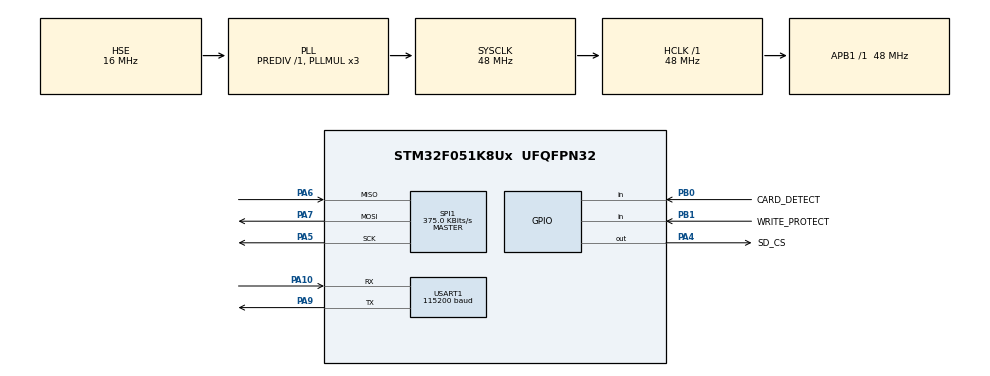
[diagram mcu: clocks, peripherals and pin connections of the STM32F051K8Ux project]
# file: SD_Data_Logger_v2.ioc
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Dma.Request0=USART1_RX
Dma.USART1_RX.0.Direction=DMA_PERIPH_TO_MEMORY
Dma.USART1_RX.0.Instance=DMA1_Channel3
Dma.USART1_RX.0.MemDataAlignment=DMA_MDATAALIGN_BYTE
Dma.USART1_RX.0.MemInc=DMA_MINC_ENABLE
Dma.USART1_RX.0.Mode=DMA_CIRCULAR
Dma.USART1_RX.0.PeriphDataAlignment=DMA_PDATAALIGN_BYTE
Dma.USART1_RX.0.PeriphInc=DMA_PINC_DISABLE
Dma.USART1_RX.0.Priority=DMA_PRIORITY_LOW
FATFS._USE_LFN=2
IWDG.Prescaler=IWDG_PRESCALER_64
Mcu.Family=STM32F0
Mcu.Name=STM32F051K8Ux
Mcu.Package=UFQFPN32
NVIC.DMA1_Channel2_3_IRQn=true\:0\:0\:false\:false\:true\:false\:true\:true
NVIC.SPI1_IRQn=true\:0\:0\:false\:false\:true\:true\:true\:true
NVIC.USART1_IRQn=true\:0\:0\:false\:false\:true\:true\:true\:true
PA10.Mode=Asynchronous
PA10.Signal=USART1_RX
PA13.Mode=Serial_Wire
PA13.Signal=SYS_SWDIO
PA14.Mode=Serial_Wire
PA14.Signal=SYS_SWCLK
PA4.GPIO_Label=SD_CS
PA4.GPIO_PuPd=GPIO_NOPULL
PA4.Signal=GPIO_Output
PA5.GPIO_PuPd=GPIO_PULLUP
PA5.Mode=Full_Duplex_Master
PA5.Signal=SPI1_SCK
PA6.GPIO_PuPd=GPIO_PULLUP
PA6.Mode=Full_Duplex_Master
PA6.Signal=SPI1_MISO
PA7.GPIO_PuPd=GPIO_PULLUP
PA7.Mode=Full_Duplex_Master
PA7.Signal=SPI1_MOSI
PA9.Mode=Asynchronous
PA9.Signal=USART1_TX
PB0.GPIO_Label=CARD_DETECT
PB0.GPIO_PuPd=GPIO_PULLUP
PB0.Signal=GPIO_Input
PB1.GPIO_Label=WRITE_PROTECT
PB1.GPIO_PuPd=GPIO_PULLUP
PB1.Signal=GPIO_Input
PF0-OSC_IN.Mode=HSE-External-Oscillator
PF0-OSC_IN.Signal=RCC_OSC_IN
PF1-OSC_OUT.Mode=HSE-External-Oscillator
PF1-OSC_OUT.Signal=RCC_OSC_OUT
ProjectManager.HeapSize=0x200
ProjectManager.StackSize=0x400
ProjectManager.TargetToolchain=STM32CubeIDE
RCC.AHBFreq_Value=48000000
RCC.APB1Freq_Value=48000000
RCC.APB1TimFreq_Value=48000000
RCC.HCLKFreq_Value=48000000
RCC.HSE_VALUE=16000000
RCC.PLLMUL=RCC_PLL_MUL3
RCC.PLLSourceVirtual=RCC_PLLSOURCE_HSE
RCC.SYSCLKFreq_VALUE=48000000
RCC.SYSCLKSource=RCC_SYSCLKSOURCE_PLLCLK
SPI1.BaudRatePrescaler=SPI_BAUDRATEPRESCALER_128
SPI1.CalculateBaudRate=375.0 KBits/s
SPI1.DataSize=SPI_DATASIZE_8BIT
SPI1.Direction=SPI_DIRECTION_2LINES
SPI1.Mode=SPI_MODE_MASTER
SPI1.VirtualType=VM_MASTER
USART1.BaudRate=115200
USART1.VirtualMode-Asynchronous=VM_ASYNC
VP_FATFS_VS_Generic.Mode=User_defined
VP_IWDG_VS_IWDG.Mode=IWDG_Activate
board=custom

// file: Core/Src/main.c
/* USER CODE BEGIN Header */
/**
  ******************************************************************************
  * @file           : main.c
  * @brief          : Main program body
  ******************************************************************************
  * @attention
  *
  * Copyright (c) 2023 STMicroelectronics.
  * All rights reserved.
  *
  * This software is licensed under terms that can be found in the LICENSE file
  * in the root directory of this software component.
  * If no LICENSE file comes with this software, it is provided AS-IS.
  *
  ******************************************************************************
  */
/* USER CODE END Header */
#include "main.h"
#include "fatfs.h"

/* USER CODE BEGIN Includes */
#include <stdio.h>
#include <string.h>
#include <stdarg.h>
#include <retarget.h>
/* USER CODE END Includes */

IWDG_HandleTypeDef hiwdg;

SPI_HandleTypeDef hspi1;

UART_HandleTypeDef huart1;
DMA_HandleTypeDef hdma_usart1_rx;

/* USER CODE BEGIN PV */

volatile int rx_half_cplt_flag = 0;
volatile int rx_cplt_flag = 0;

extern uint8_t uart_rx_buf[UART_RX_BUF_SIZE];

/* USER CODE END PV */

void SystemClock_Config(void);
static void MX_GPIO_Init(void);
static void MX_DMA_Init(void);
static void MX_SPI1_Init(void);
static void MX_USART1_UART_Init(void);
static void MX_IWDG_Init(void);

int main(void)
{

  /* MCU Configuration--------------------------------------------------------*/

  /* Reset of all peripherals, Initializes the Flash interface and the Systick. */
  HAL_Init();

  /* Configure the system clock */
  SystemClock_Config();

  /* Initialize all configured peripherals */
  MX_GPIO_Init();
  MX_DMA_Init();
  MX_SPI1_Init();
  MX_USART1_UART_Init();
  MX_FATFS_Init();
  /* USER CODE BEGIN 2 */

  RetargetInit(&huart1);

//  printf("\nSD Card Demo\n\n");

  HAL_Delay(1000);
  MX_IWDG_Init();

//  fres = f_mount(&FatFs, "", 1);
//  if (fres != FR_OK) {
//	  printf("f_mount error (%i)\r\n", fres);
//	  while(1);
//  } else {
//	  printf("Mounted successfully!\n\r");
//  }
//
//  DWORD free_clusters, free_sectors, total_sectors;

//  FATFS* getFreeFs;

//  fres = f_getfree("", &free_clusters, &getFreeFs);
//  if (fres != FR_OK) {
//	  printf("g_getfree error (%i)\n\r", fres);
//	  while(1);
//  } else {
//	  printf("Getfree success!\n\r");
//  }

  //Formula comes from ChaN's documentation
//  total_sectors = (getFreeFs->n_fatent - 2) * getFreeFs->csize;
//  free_sectors = free_clusters * getFreeFs->csize;

//  printf("SD card stats:\r\n%10lu KiB total drive space.\r\n%10lu KiB available.\r\n", total_sectors / 2, free_sectors / 2);

//  fres = f_open(&fil, "test.txt", FA_READ);
//  if (fres != FR_OK) {
//	  printf("f_open error (%i)\r\n", fres);
//	  while(1);
//  }
//  printf("I was able to open 'test.txt' for reading!\r\n");
//
//  //Read 30 bytes from "test.txt" on the SD card
//  BYTE readBuf[30];
//
//  //We can either use f_read OR f_gets to get data out of files
//  //f_gets is a wrapper on f_read that does some string formatting for us
//  TCHAR* rres = f_gets((TCHAR*)readBuf, 30, &fil);
//  if(rres != 0) {
//	  printf("Read string from 'test.txt' contents: %s\r\n", readBuf);
//  } else {
//	  printf("f_gets error (%i)\r\n", fres);
//  }
//
//  //Be a tidy kiwi - don't forget to close your file!
//  f_close(&fil);
//
//  //Now let's try and write a file "write.txt"
//  fres = f_open(&fil, "write.txt", FA_WRITE | FA_OPEN_ALWAYS | FA_CREATE_ALWAYS);
//  if(fres == FR_OK) {
//	  printf("I was able to open 'write.txt' for writing\r\n");
//  } else {
//	  printf("f_open error (%i)\r\n", fres);
//  }
//
//  //Copy in a string
//  for (int i = 0; i < 30; i++) {
//	  readBuf[i] = getchar();
//  }
////  strncpy((char*)readBuf, "a new file is made!", 19);
//  UINT bytesWrote;
//  fres = f_write(&fil, readBuf, 30, &bytesWrote);
//  if(fres == FR_OK) {
//	  printf("Wrote %i bytes to 'write.txt'!\r\n", bytesWrote);
//  } else {
//	  printf("f_write error (%i)\r\n", fres);
//  }
//
//  //Be a tidy kiwi - don't forget to close your file!
//  f_close(&fil);
//
//  //We're done, so de-mount the drive
//  f_mount(NULL, "", 0);

  /* USER CODE END 2 */

  /* Infinite loop */
  while (1)
  {

    /* USER CODE BEGIN 3 */
	  HAL_IWDG_Refresh(&hiwdg);
	  HAL_GPIO_WritePin(SD_CS_GPIO_Port, SD_CS_Pin, GPIO_PIN_SET);
	  if (HAL_GPIO_ReadPin(CARD_DETECT_GPIO_Port, CARD_DETECT_Pin) == GPIO_PIN_SET) {
		  printf("No card detected!\n");
		  HAL_Delay(1000);
		  continue;
	  }
	  HAL_IWDG_Refresh(&hiwdg);
	  HAL_Delay(1000);
	  printf("Mounting SD card...\n");
	  MX_FATFS_Init();
	  FRESULT fres = f_mount(&USERFatFS, "", 1);
	  if (fres != FR_OK) {
		  printf("f_mount error (%i)\n", fres);
		  f_mount(NULL, "", 0);
		  MX_FATFS_DeInit();
		  continue;
	  }
	  HAL_IWDG_Refresh(&hiwdg);
//	  printf("Mounted Successfully!\n");

	  static char date[64];
	  static char hours[10];
	  static char minutes[10];
	  static char seconds[10];
	  static char fname[128];

	  scanf("%*[^\n\r]%*[\n\r ]%63[^\n\r,], %9[^\n\r,.:]:%9[^\n\r,.:]:%9[^\n\r,.:]", date, hours, minutes, seconds);

	  sprintf(fname, "%s--%s;%s;%s.csv", date, hours, minutes, seconds);
//	  sprintf(fname, "foobar.csv");

	  HAL_IWDG_Refresh(&hiwdg);
	  printf("Opening %s\n", fname);

	  HAL_Delay(1000);

	  fres = f_open(&USERFile, fname, FA_CREATE_ALWAYS | FA_OPEN_ALWAYS | FA_WRITE);
	  if (fres != FR_OK) {
		  printf("f_open error (%i)\n", fres);
		  f_close(&USERFile);
		  f_mount(NULL, "", 0);
		  MX_FATFS_DeInit();
		  continue;
	  }
	  printf("Opened %s\n", fname);

	  while(fres == FR_OK) {
		  HAL_IWDG_Refresh(&hiwdg);
		  if (rx_cplt_flag && rx_half_cplt_flag) {
			  rx_cplt_flag = 0;
			  rx_half_cplt_flag = 0;
		  }
		  if (rx_half_cplt_flag) {
			  rx_half_cplt_flag = 0;
			  UINT bytesWrote;
			  fres = f_write(&USERFile, uart_rx_buf, (UART_RX_BUF_SIZE >> 1), &bytesWrote);
			  f_sync(&USERFile);

			  FATFS* getFreeFs;
			  DWORD free_clusters, free_sectors, total_sectors;
			  f_getfree("", &free_clusters, &getFreeFs);
			  total_sectors = (getFreeFs->n_fatent - 2) * getFreeFs->csize;
			  free_sectors = free_clusters * getFreeFs->csize;

			  printf("Wrote %i bytes 1/2 ", bytesWrote);
			  printf("%6lu MB / %6lu MB", (total_sectors - free_sectors) / 2048, total_sectors / 2048);
			  printf("%s\n", fname);

		  }
		  if (rx_cplt_flag) {
			  rx_cplt_flag = 0;
			  UINT bytesWrote;
			  fres = f_write(&USERFile, uart_rx_buf+(UART_RX_BUF_SIZE >> 1), (UART_RX_BUF_SIZE >> 1), &bytesWrote);
			  f_sync(&USERFile);

			  FATFS* getFreeFs;
			  DWORD free_clusters, free_sectors, total_sectors;
			  f_getfree("", &free_clusters, &getFreeFs);
			  total_sectors = (getFreeFs->n_fatent - 2) * getFreeFs->csize;
			  free_sectors = free_clusters * getFreeFs->csize;

			  printf("Wrote %i bytes 2/2 ", bytesWrote);
			  printf("%6lu MB / %6lu MB", (total_sectors - free_sectors) / 2048, total_sectors / 2048);
			  printf("%s\n", fname);
		  }
	  }

	  printf("f_write error (%i)\n", fres);
	  f_close(&USERFile);
	  f_mount(NULL, "", 0);
	  MX_FATFS_DeInit();
  }
  /* USER CODE END 3 */
}

void SystemClock_Config(void)
{
  RCC_OscInitTypeDef RCC_OscInitStruct = {0};
  RCC_ClkInitTypeDef RCC_ClkInitStruct = {0};
  RCC_PeriphCLKInitTypeDef PeriphClkInit = {0};

  /** Initializes the RCC Oscillators according to the specified parameters
  * in the RCC_OscInitTypeDef structure.
  */
  RCC_OscInitStruct.OscillatorType = RCC_OSCILLATORTYPE_LSI|RCC_OSCILLATORTYPE_HSE;
  RCC_OscInitStruct.HSEState = RCC_HSE_ON;
  RCC_OscInitStruct.LSIState = RCC_LSI_ON;
  RCC_OscInitStruct.PLL.PLLState = RCC_PLL_ON;
  RCC_OscInitStruct.PLL.PLLSource = RCC_PLLSOURCE_HSE;
  RCC_OscInitStruct.PLL.PLLMUL = RCC_PLL_MUL3;
  RCC_OscInitStruct.PLL.PREDIV = RCC_PREDIV_DIV1;
  if (HAL_RCC_OscConfig(&RCC_OscInitStruct) != HAL_OK)
  {
    Error_Handler();
  }

  /** Initializes the CPU, AHB and APB buses clocks
  */
  RCC_ClkInitStruct.ClockType = RCC_CLOCKTYPE_HCLK|RCC_CLOCKTYPE_SYSCLK
                              |RCC_CLOCKTYPE_PCLK1;
  RCC_ClkInitStruct.SYSCLKSource = RCC_SYSCLKSOURCE_PLLCLK;
  RCC_ClkInitStruct.AHBCLKDivider = RCC_SYSCLK_DIV1;
  RCC_ClkInitStruct.APB1CLKDivider = RCC_HCLK_DIV1;

  if (HAL_RCC_ClockConfig(&RCC_ClkInitStruct, FLASH_LATENCY_1) != HAL_OK)
  {
    Error_Handler();
  }
  PeriphClkInit.PeriphClockSelection = RCC_PERIPHCLK_USART1;
  PeriphClkInit.Usart1ClockSelection = RCC_USART1CLKSOURCE_PCLK1;
  if (HAL_RCCEx_PeriphCLKConfig(&PeriphClkInit) != HAL_OK)
  {
    Error_Handler();
  }
}

static void MX_IWDG_Init(void)
{

  hiwdg.Instance = IWDG;
  hiwdg.Init.Prescaler = IWDG_PRESCALER_64;
  hiwdg.Init.Window = 4095;
  hiwdg.Init.Reload = 4095;
  if (HAL_IWDG_Init(&hiwdg) != HAL_OK)
  {
    Error_Handler();
  }

}

static void MX_SPI1_Init(void)
{

  /* SPI1 parameter configuration*/
  hspi1.Instance = SPI1;
  hspi1.Init.Mode = SPI_MODE_MASTER;
  hspi1.Init.Direction = SPI_DIRECTION_2LINES;
  hspi1.Init.DataSize = SPI_DATASIZE_8BIT;
  hspi1.Init.CLKPolarity = SPI_POLARITY_LOW;
  hspi1.Init.CLKPhase = SPI_PHASE_1EDGE;
  hspi1.Init.NSS = SPI_NSS_SOFT;
  hspi1.Init.BaudRatePrescaler = SPI_BAUDRATEPRESCALER_128;
  hspi1.Init.FirstBit = SPI_FIRSTBIT_MSB;
  hspi1.Init.TIMode = SPI_TIMODE_DISABLE;
  hspi1.Init.CRCCalculation = SPI_CRCCALCULATION_DISABLE;
  hspi1.Init.CRCPolynomial = 7;
  hspi1.Init.CRCLength = SPI_CRC_LENGTH_DATASIZE;
  hspi1.Init.NSSPMode = SPI_NSS_PULSE_ENABLE;
  if (HAL_SPI_Init(&hspi1) != HAL_OK)
  {
    Error_Handler();
  }

}

static void MX_USART1_UART_Init(void)
{

  huart1.Instance = USART1;
  huart1.Init.BaudRate = 115200;
  huart1.Init.WordLength = UART_WORDLENGTH_8B;
  huart1.Init.StopBits = UART_STOPBITS_1;
  huart1.Init.Parity = UART_PARITY_NONE;
  huart1.Init.Mode = UART_MODE_TX_RX;
  huart1.Init.HwFlowCtl = UART_HWCONTROL_NONE;
  huart1.Init.OverSampling = UART_OVERSAMPLING_16;
  huart1.Init.OneBitSampling = UART_ONE_BIT_SAMPLE_DISABLE;
  huart1.AdvancedInit.AdvFeatureInit = UART_ADVFEATURE_NO_INIT;
  if (HAL_UART_Init(&huart1) != HAL_OK)
  {
    Error_Handler();
  }

}

static void MX_DMA_Init(void)
{

  /* DMA controller clock enable */
  __HAL_RCC_DMA1_CLK_ENABLE();

  /* DMA interrupt init */
  /* DMA1_Channel2_3_IRQn interrupt configuration */
  HAL_NVIC_SetPriority(DMA1_Channel2_3_IRQn, 0, 0);
  HAL_NVIC_EnableIRQ(DMA1_Channel2_3_IRQn);

}

static void MX_GPIO_Init(void)
{
  GPIO_InitTypeDef GPIO_InitStruct = {0};

  /* GPIO Ports Clock Enable */
  __HAL_RCC_GPIOF_CLK_ENABLE();
  __HAL_RCC_GPIOA_CLK_ENABLE();
  __HAL_RCC_GPIOB_CLK_ENABLE();

  /*Configure GPIO pin Output Level */
  HAL_GPIO_WritePin(SD_CS_GPIO_Port, SD_CS_Pin, GPIO_PIN_RESET);

  /*Configure GPIO pin : SD_CS_Pin */
  GPIO_InitStruct.Pin = SD_CS_Pin;
  GPIO_InitStruct.Mode = GPIO_MODE_OUTPUT_PP;
  GPIO_InitStruct.Pull = GPIO_NOPULL;
  GPIO_InitStruct.Speed = GPIO_SPEED_FREQ_LOW;
  HAL_GPIO_Init(SD_CS_GPIO_Port, &GPIO_InitStruct);

  /*Configure GPIO pins : CARD_DETECT_Pin WRITE_PROTECT_Pin */
  GPIO_InitStruct.Pin = CARD_DETECT_Pin|WRITE_PROTECT_Pin;
  GPIO_InitStruct.Mode = GPIO_MODE_INPUT;
  GPIO_InitStruct.Pull = GPIO_PULLUP;
  HAL_GPIO_Init(GPIOB, &GPIO_InitStruct);

}

/* USER CODE BEGIN 4 */

void HAL_UART_RxHalfCpltCallback(UART_HandleTypeDef *huart) {
	if (huart->Instance == USART1) {
		rx_half_cplt_flag = 1;
	}
}

void HAL_UART_RxCpltCallback(UART_HandleTypeDef *huart) {
	if (huart->Instance == USART1) {
		rx_cplt_flag = 1;
	}
}

/* USER CODE END 4 */

void Error_Handler(void)
{
  __disable_irq();
  while (1)
  {
  }
}
